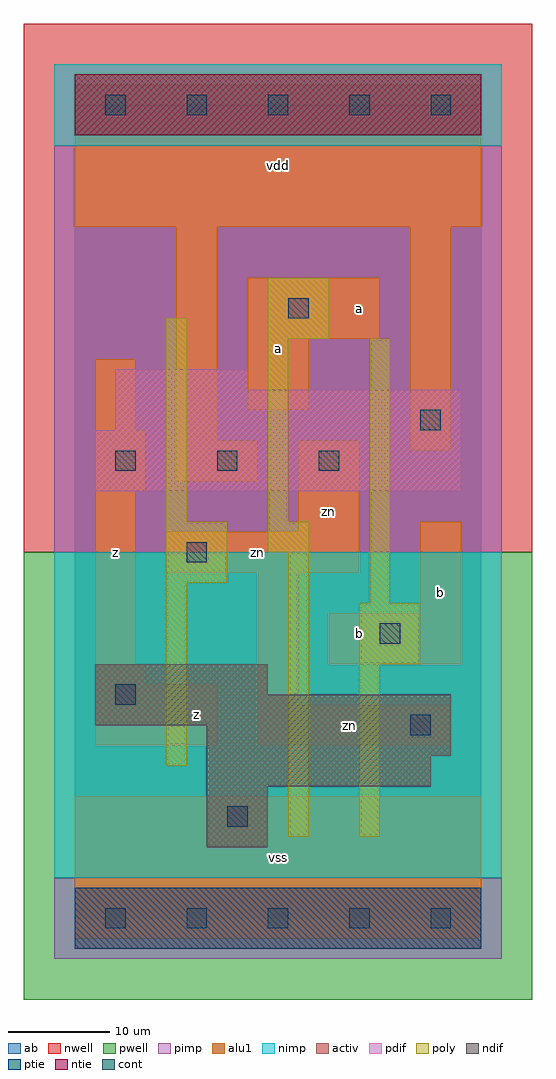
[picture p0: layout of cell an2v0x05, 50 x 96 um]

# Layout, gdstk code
import gdstk
lib = gdstk.Library(unit=1e-6, precision=1e-09)
def R(c, l, rs):  # rectangles x0, y0, x1, y1
    for r in rs: c.add(gdstk.rectangle(r[:2], r[2:], *l))
def A(c, l, x, y, w, h, nx, ny, dx, dy):  # array of equal rectangles
    R(c, l, [(x+i*dx, y+j*dy, x+i*dx+w, y+j*dy+h) for i in range(nx) for j in range(ny)])
ndif = (3, 0)
pdif = (4, 0)
ntie = (5, 0)
ptie = (6, 0)
cont = (25, 0)
pwell = (41, 0)
nwell = (42, 0)
activ = (43, 0)
pimp = (44, 0)
nimp = (45, 0)
poly = (46, 0)
alu1 = (49, 0)
ab = (63, 0)

an2v0x05 = lib.new_cell('an2v0x05')
R(an2v0x05, ndif, [(13,7,19,13), (13,13,35,16), (13,16,37,19), (2,19,37,22), (2,22,19,25)])
R(an2v0x05, pdif, [(2,42,38,48), (4,48,38,52), (4,52,17,54)])
R(an2v0x05, ntie, [(0,77,40,83)])
R(an2v0x05, ptie, [(0,-3,40,3)])
A(an2v0x05, cont, 3, -1, 2, 2, 5, 2, 8, 80)
A(an2v0x05, cont, 4, 44, 2, 2, 3, 1, 10, 0)
R(an2v0x05, cont, [(15,9,17,11), (33,18,35,20), (4,21,6,23), (30,27,32,29), (11,35,13,37), (34,48,36,50), (21,59,23,61)])
R(an2v0x05, pwell, [(-5,-8,45,36)])
R(an2v0x05, nwell, [(-5,36,45,88)])
R(an2v0x05, activ, [(0,-3,40,3), (13,7,19,13), (13,13,35,16), (13,16,37,19), (2,19,37,22), (2,22,19,25), (2,42,38,48), (4,48,38,52), (4,52,17,54), (0,77,40,83)])
R(an2v0x05, pimp, [(-2,-4,42,4), (-2,36,42,76)])
R(an2v0x05, nimp, [(-2,4,42,36), (-2,76,42,84)])
R(an2v0x05, poly, [(21,8,23,36), (28,8,30,25), (9,15,11,33), (28,25,34,31), (29,31,31,57), (9,33,15,39), (19,36,23,39), (9,39,11,59), (19,39,21,57), (19,57,25,63)])
R(an2v0x05, alu1, [(0,-2,40,12), (2,17,14,23), (18,17,37,21), (18,21,22,34), (2,23,7,25), (2,25,6,42), (25,25,38,30), (34,30,38,39), (9,34,28,38), (22,38,28,47), (2,42,7,48), (10,43,18,47), (33,46,37,68), (10,47,14,68), (2,48,6,55), (17,50,23,57), (17,57,30,63), (0,68,40,82)])
R(an2v0x05, ab, [(0,0,40,80)])
an2v0x05.add(gdstk.Label('zn', (18,36), layer=49, texttype=0))
an2v0x05.add(gdstk.Label('zn', (25,40), layer=49, texttype=0))
an2v0x05.add(gdstk.Label('zn', (27,19), layer=49, texttype=0))
an2v0x05.add(gdstk.Label('z', (4,36), layer=49, texttype=0))
an2v0x05.add(gdstk.Label('z', (12,20), layer=49, texttype=0))
an2v0x05.add(gdstk.Label('vss', (20,6), layer=49, texttype=0))
an2v0x05.add(gdstk.Label('b', (28,28), layer=49, texttype=0))
an2v0x05.add(gdstk.Label('a', (20,56), layer=49, texttype=0))
an2v0x05.add(gdstk.Label('a', (28,60), layer=49, texttype=0))
an2v0x05.add(gdstk.Label('vdd', (20,74), layer=49, texttype=0))
an2v0x05.add(gdstk.Label('b', (36,32), layer=49, texttype=0))

lib.write_gds('an2v0x05.gds')
